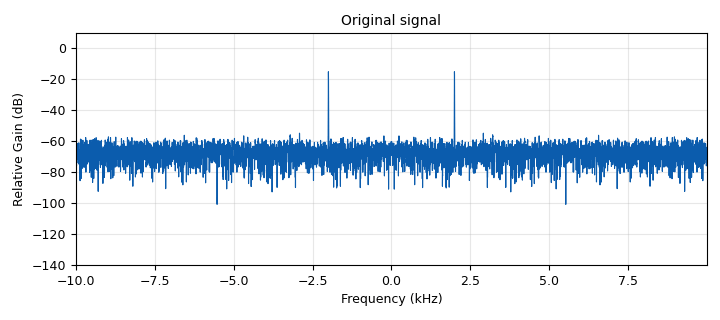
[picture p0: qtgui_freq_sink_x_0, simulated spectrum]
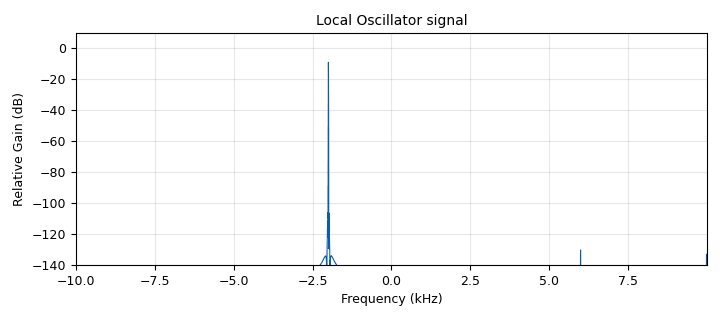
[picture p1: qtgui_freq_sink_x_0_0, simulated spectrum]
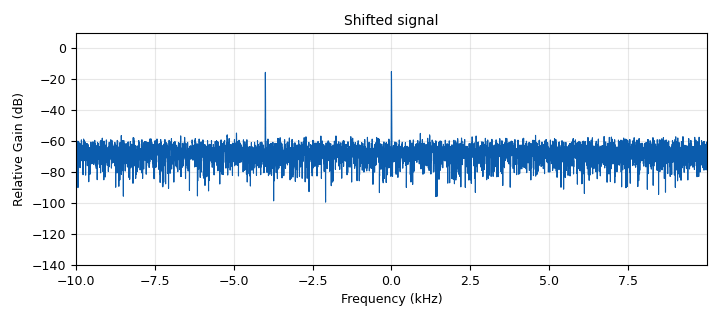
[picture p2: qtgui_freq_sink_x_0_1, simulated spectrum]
options:
  parameters:
    generate_options: qt_gui
    id: freq_shift1
    output_language: python
    title: Not titled yet
  states: {}

blocks:
- name: Fc
  id: variable_qtgui_range
  parameters:
    label: Frequency signal (Hz)
    start: '0'
    step: '1'
    stop: samp_rate/2
    value: '2000'
  states: {}
- name: Flo
  id: variable_qtgui_range
  parameters:
    label: Frequency local oscillator (Hz)
    start: '-samp_rate/2'
    step: '1'
    stop: samp_rate/2
    value: '-2000'
  states: {}
- name: noise_amp
  id: variable_qtgui_range
  parameters:
    start: '0'
    step: '0.0001'
    stop: '0.5'
    value: '0.1'
  states: {}
- name: samp_rate
  id: variable
  parameters:
    value: 20e3
  states: {}
- name: analog_noise_source_x_0
  id: analog_noise_source_x
  parameters:
    amp: noise_amp
    noise_type: analog.GR_GAUSSIAN
    seed: '0'
    type: float
  states: {}
- name: analog_sig_source_x_0
  id: analog_sig_source_x
  parameters:
    amp: '1'
    freq: Fc
    offset: '0'
    phase: '0'
    samp_rate: samp_rate
    type: float
    waveform: analog.GR_COS_WAVE
  states: {}
- name: analog_sig_source_x_0_0
  id: analog_sig_source_x
  parameters:
    amp: '1'
    freq: Flo
    offset: '0'
    phase: 3.14/2
    samp_rate: samp_rate
    type: complex
    waveform: analog.GR_COS_WAVE
  states: {}
- name: blocks_add_xx_0
  id: blocks_add_xx
  parameters:
    type: float
  states: {}
- name: blocks_float_to_complex_0
  id: blocks_float_to_complex
  parameters: {}
  states: {}
- name: blocks_multiply_xx_0
  id: blocks_multiply_xx
  parameters:
    type: complex
  states: {}
- name: qtgui_freq_sink_x_0
  id: qtgui_freq_sink_x
  parameters:
    bw: samp_rate
    fc: '0'
    fftsize: '8192'
    name: '"Original signal"'
    type: complex
  states: {}
- name: qtgui_freq_sink_x_0_0
  id: qtgui_freq_sink_x
  parameters:
    bw: samp_rate
    fc: '0'
    fftsize: '8192'
    name: '"Local Oscillator signal"'
    type: complex
  states: {}
- name: qtgui_freq_sink_x_0_1
  id: qtgui_freq_sink_x
  parameters:
    bw: samp_rate
    fc: '0'
    fftsize: '8192'
    name: '"Shifted signal"'
    type: complex
  states: {}

connections:
- [analog_noise_source_x_0, '0', blocks_add_xx_0, '1']
- [analog_sig_source_x_0, '0', blocks_add_xx_0, '0']
- [analog_sig_source_x_0_0, '0', blocks_multiply_xx_0, '1']
- [analog_sig_source_x_0_0, '0', qtgui_freq_sink_x_0_0, '0']
- [blocks_add_xx_0, '0', blocks_float_to_complex_0, '0']
- [blocks_float_to_complex_0, '0', blocks_multiply_xx_0, '0']
- [blocks_float_to_complex_0, '0', qtgui_freq_sink_x_0, '0']
- [blocks_multiply_xx_0, '0', qtgui_freq_sink_x_0_1, '0']

metadata:
  file_format: 1
  grc_version: 3.10.8.0
